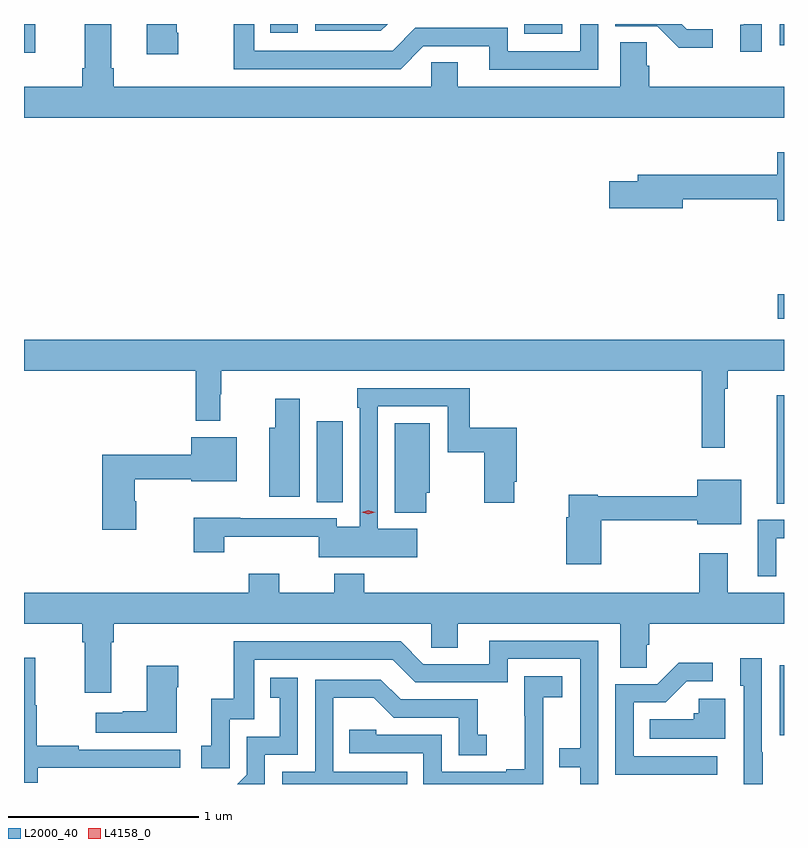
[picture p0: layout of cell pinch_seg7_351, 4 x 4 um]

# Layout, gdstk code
import gdstk
lib = gdstk.Library(unit=1e-6, precision=1e-09)
def R(c, l, rs):  # rectangles x0, y0, x1, y1
    for r in rs: c.add(gdstk.rectangle(r[:2], r[2:], *l))
def P(c, l, *ps):  # polygons
    for p in ps: c.add(gdstk.Polygon(p, *l))
L2000_40 = (2000, 40)
L4158_0 = (4158, 0)

pinch_seg7_351 = lib.new_cell('pinch_seg7_351')
R(pinch_seg7_351, L2000_40, [(450.615,1005.357,450.638,1005.726), (450.599,1006.576,450.638,1007.146), (448.178,1006.585,448.315,1007.011), (450.606,1007.549,450.638,1007.679), (446.638,1008.951,446.696,1009.101), (450.615,1008.99,450.638,1009.101), (449.272,1009.049,449.47,1009.101), (447.934,1009.056,448.08,1009.101)])
P(pinch_seg7_351, L2000_40, [(449.661,1009.101),(449.565,1009.101),(449.565,1008.957),(449.184,1008.957),(449.184,1009.08),(448.698,1009.08),(448.578,1008.96),(447.849,1008.96),(447.849,1009.101),(447.741,1009.101),(447.741,1008.864),(448.62,1008.864),(448.74,1008.984),(449.087,1008.984),(449.087,1008.861),(449.661,1008.861)],
  [(448.552,1009.101),(448.17,1009.101),(448.17,1009.065),(448.516,1009.065)],
  [(450.522,1009.101),(450.426,1009.101),(450.426,1009.098),(450.407,1009.098),(450.407,1008.954),(450.522,1008.954)],
  [(450.262,1009.074),(450.127,1009.074),(450.1,1009.101),(449.751,1009.101),(449.751,1009.089),(449.97,1009.089),(450.083,1008.977),(450.262,1008.977)],
  [(450.638,1008.772),(449.93,1008.772),(449.93,1008.881),(449.916,1008.881),(449.916,1009.004),(449.777,1009.004),(449.777,1008.772),(448.921,1008.772),(448.921,1008.899),(448.782,1008.899),(448.782,1008.772),(447.11,1008.772),(447.11,1008.868),(447.097,1008.868),(447.097,1009.101),(446.957,1009.101),(446.957,1008.868),(446.945,1008.868),(446.945,1008.772),(446.638,1008.772),(446.638,1008.608),(450.638,1008.608)],
  [(447.45,1009.054),(447.442,1009.054),(447.442,1009.101),(447.284,1009.101),(447.284,1008.942),(447.45,1008.942)],
  [(450.638,1008.427),(450.602,1008.427),(450.602,1008.307),(449.867,1008.307),(449.867,1008.273),(449.718,1008.273),(449.718,1008.131),(450.106,1008.131),(450.106,1008.178),(450.602,1008.178),(450.602,1008.066),(450.638,1008.066)],
  [(450.326,1007.18),(450.341,1007.18),(450.341,1007.276),(450.638,1007.276),(450.638,1007.44),(446.638,1007.44),(446.638,1007.276),(447.541,1007.276),(447.541,1007.013),(447.67,1007.013),(447.67,1007.153),(447.677,1007.153),(447.677,1007.276),(450.205,1007.276),(450.205,1006.872),(450.326,1006.872)],
  [(448.708,1006.444),(448.5,1006.444),(448.5,1007.088),(448.869,1007.088),(448.869,1006.846),(449.06,1006.846),(449.06,1006.581),(449.218,1006.581),(449.218,1006.693),(449.231,1006.693),(449.231,1006.975),(448.985,1006.975),(448.985,1007.184),(448.392,1007.184),(448.392,1007.081),(448.404,1007.081),(448.404,1006.456),(448.284,1006.456),(448.284,1006.5),(447.775,1006.5),(447.775,1006.502),(447.532,1006.502),(447.532,1006.32),(447.692,1006.32),(447.692,1006.403),(448.188,1006.403),(448.188,1006.295),(448.708,1006.295)],
  [(448.09,1007.128),(447.961,1007.128),(447.961,1006.975),(447.929,1006.975),(447.929,1006.614),(448.09,1006.614)],
  [(448.756,1006.635),(448.774,1006.635),(448.774,1006.999),(448.589,1006.999),(448.589,1006.529),(448.756,1006.529)],
  [(447.228,1006.59),(447.22,1006.59),(447.22,1006.705),(447.518,1006.705),(447.518,1006.694),(447.757,1006.694),(447.757,1006.927),(447.518,1006.927),(447.518,1006.834),(447.05,1006.834),(447.05,1006.44),(447.228,1006.44)],
  [(449.675,1006.488),(450.182,1006.488),(450.182,1006.469),(450.412,1006.469),(450.412,1006.702),(450.182,1006.702),(450.182,1006.616),(449.658,1006.616),(449.658,1006.624),(449.504,1006.624),(449.504,1006.505),(449.492,1006.505),(449.492,1006.257),(449.675,1006.257)],
  [(450.598,1006.395),(450.638,1006.395),(450.638,1006.491),(450.5,1006.491),(450.5,1006.194),(450.598,1006.194)],
  [(447.097,1005.848),(447.11,1005.848),(447.11,1005.944),(448.782,1005.944),(448.782,1005.817),(448.921,1005.817),(448.921,1005.944),(449.777,1005.944),(449.777,1005.712),(449.916,1005.712),(449.916,1005.835),(449.93,1005.835),(449.93,1005.944),(450.638,1005.944),(450.638,1006.108),(450.343,1006.108),(450.343,1006.315),(450.191,1006.315),(450.191,1006.108),(448.43,1006.108),(448.43,1006.207),(448.27,1006.207),(448.27,1006.108),(447.981,1006.108),(447.981,1006.207),(447.821,1006.207),(447.821,1006.108),(446.638,1006.108),(446.638,1005.944),(446.945,1005.944),(446.945,1005.848),(446.957,1005.848),(446.957,1005.582),(447.097,1005.582)],
  [(449.661,1005.855),(449.087,1005.855),(449.087,1005.732),(448.74,1005.732),(448.62,1005.852),(447.741,1005.852),(447.741,1005.55),(447.623,1005.55),(447.623,1005.303),(447.57,1005.303),(447.57,1005.183),(447.72,1005.183),(447.72,1005.441),(447.849,1005.441),(447.849,1005.756),(448.578,1005.756),(448.698,1005.636),(449.184,1005.636),(449.184,1005.759),(449.565,1005.759),(449.565,1005.29),(449.455,1005.29),(449.455,1005.189),(449.565,1005.189),(449.565,1005.101),(449.661,1005.101)],
  [(446.711,1005.186),(447.46,1005.186),(447.46,1005.282),(446.927,1005.282),(446.927,1005.302),(446.704,1005.302),(446.704,1005.516),(446.696,1005.516),(446.696,1005.766),(446.638,1005.766),(446.638,1005.108),(446.711,1005.108)],
  [(450.525,1005.269),(450.522,1005.269),(450.522,1005.763),(450.407,1005.763),(450.407,1005.618),(450.426,1005.618),(450.426,1005.101),(450.525,1005.101)],
  [(450.286,1005.246),(449.847,1005.246),(449.847,1005.531),(450.016,1005.531),(450.127,1005.642),(450.262,1005.642),(450.262,1005.74),(450.083,1005.74),(449.97,1005.627),(449.751,1005.627),(449.751,1005.15),(450.286,1005.15)],
  [(447.442,1005.611),(447.45,1005.611),(447.45,1005.724),(447.284,1005.724),(447.284,1005.485),(447.158,1005.485),(447.158,1005.475),(447.015,1005.475),(447.015,1005.371),(447.442,1005.371)],
  [(449.37,1005.329),(449.372,1005.329),(449.372,1005.557),(449.47,1005.557),(449.47,1005.667),(449.272,1005.667),(449.272,1005.461),(449.273,1005.461),(449.273,1005.178),(449.177,1005.178),(449.177,1005.165),(448.836,1005.165),(448.836,1005.36),(448.491,1005.36),(448.491,1005.387),(448.351,1005.387),(448.351,1005.264),(448.74,1005.264),(448.74,1005.101),(449.37,1005.101)],
  [(447.906,1005.255),(448.08,1005.255),(448.08,1005.661),(447.934,1005.661),(447.934,1005.555),(447.983,1005.555),(447.983,1005.351),(447.81,1005.351),(447.81,1005.15),(447.761,1005.101),(447.906,1005.101)],
  [(448.655,1005.165),(448.266,1005.165),(448.266,1005.554),(448.48,1005.554),(448.584,1005.45),(448.926,1005.45),(448.926,1005.252),(449.074,1005.252),(449.074,1005.361),(449.025,1005.361),(449.025,1005.546),(448.621,1005.546),(448.516,1005.651),(448.17,1005.651),(448.17,1005.165),(447.996,1005.165),(447.996,1005.101),(448.655,1005.101)],
  [(450.328,1005.55),(450.189,1005.55),(450.189,1005.474),(450.163,1005.474),(450.163,1005.442),(449.932,1005.442),(449.932,1005.338),(450.328,1005.338)])
P(pinch_seg7_351, L4158_0, [(448.451,1006.521),(448.416,1006.531),(448.416,1006.531),(448.416,1006.531),(448.451,1006.541),(448.486,1006.531),(448.486,1006.531),(448.486,1006.531)])

lib.write_gds('pinch_seg7_351.gds')
